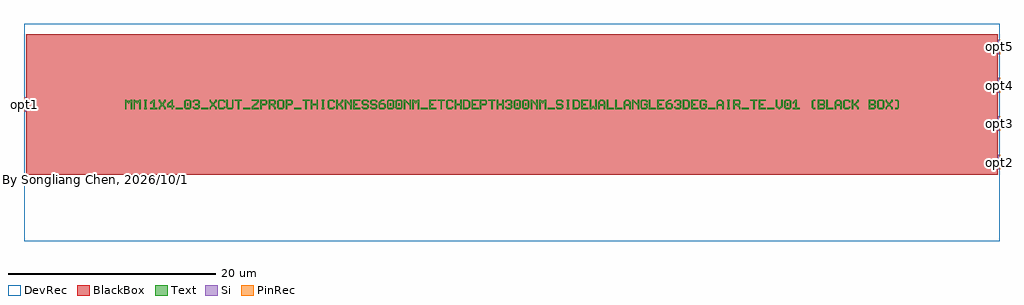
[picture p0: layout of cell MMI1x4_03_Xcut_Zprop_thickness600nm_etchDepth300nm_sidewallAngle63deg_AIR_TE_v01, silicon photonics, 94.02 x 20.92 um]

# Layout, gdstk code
import gdstk
lib = gdstk.Library(unit=1e-6, precision=1e-10)
def R(c, l, rs):  # rectangles x0, y0, x1, y1
    for r in rs: c.add(gdstk.rectangle(r[:2], r[2:], *l))
def A(c, l, x, y, w, h, nx, ny, dx, dy):  # array of equal rectangles
    R(c, l, [(x+i*dx, y+j*dy, x+i*dx+w, y+j*dy+h) for i in range(nx) for j in range(ny)])
def P(c, l, *ps):  # polygons
    for p in ps: c.add(gdstk.Polygon(p, *l))
Si = (1, 0)
PinRec = (1, 10)
Text = (10, 0)
DevRec = (68, 0)
BlackBox = (998, 0)

text = lib.new_cell('TEXT')
A(text, Text, 16.28, 0, 0.678, 0.136, 3, 1, 12.21, 0)
R(text, Text, [(4.884,0,5.562,0.136), (7.326,0,8.004,0.136), (11.396,0,12.074,0.136), (56.166,0,56.844,0.136), (59.422,0,60.1,0.136), (61.864,0,62.542,0.136), (5.969,0.339,6.105,0.61), (25.505,0.339,25.641,0.61), (26.319,0.339,26.455,0.61), (37.715,0.339,37.851,0.61), (38.529,0.339,38.665,0.61), (63.763,0.339,63.899,0.61)])
P(text, Text, [(0,0),(0,0.95),(0.136,0.95),(0.271,0.814),(0.407,0.814),(0.543,0.95),(0.678,0.95),(0.678,0),(0.543,0),(0.543,0.678),(0.475,0.678),(0.339,0.543),(0.203,0.678),(0.136,0.678),(0.136,0)],
  [(0.814,0),(0.814,0.95),(0.95,0.95),(1.085,0.814),(1.221,0.814),(1.357,0.95),(1.492,0.95),(1.492,0),(1.357,0),(1.357,0.678),(1.289,0.678),(1.153,0.543),(1.017,0.678),(0.95,0.678),(0.95,0)],
  [(1.831,0),(1.831,0.136),(1.899,0.136),(1.899,0.814),(1.831,0.814),(1.831,0.95),(2.103,0.95),(2.103,0.814),(2.035,0.814),(2.035,0.136),(2.103,0.136),(2.103,0)],
  [(2.442,0),(2.442,0.136),(2.713,0.136),(2.713,0.678),(2.645,0.678),(2.51,0.543),(2.442,0.543),(2.442,0.678),(2.713,0.95),(2.849,0.95),(2.849,0.136),(3.12,0.136),(3.12,0)],
  [(3.256,0),(3.256,0.203),(3.459,0.407),(3.459,0.543),(3.256,0.746),(3.256,0.95),(3.392,0.95),(3.392,0.814),(3.595,0.61),(3.799,0.814),(3.799,0.95),(3.934,0.95),(3.934,0.746),(3.731,0.543),(3.731,0.407),(3.934,0.203),(3.934,0),(3.799,0),(3.799,0.136),(3.595,0.339),(3.392,0.136),(3.392,0)],
  [(4.477,0),(4.477,0.203),(4.07,0.203),(4.07,0.339),(4.477,0.339),(4.477,0.678),(4.409,0.678),(4.206,0.475),(4.206,0.339),(4.07,0.339),(4.07,0.543),(4.477,0.95),(4.613,0.95),(4.613,0.339),(4.748,0.339),(4.748,0.203),(4.613,0.203),(4.613,0)],
  [(5.834,0),(5.698,0.136),(5.698,0.814),(5.834,0.95),(6.241,0.95),(6.376,0.814),(5.901,0.814),(5.834,0.746),(5.834,0.203),(5.901,0.136),(6.173,0.136),(6.241,0.203),(6.241,0.746),(6.173,0.814),(6.376,0.814),(6.376,0.136),(6.241,0)],
  [(6.648,0),(6.512,0.136),(6.512,0.271),(6.648,0.271),(6.648,0.203),(6.715,0.136),(6.987,0.136),(7.055,0.203),(7.055,0.339),(6.987,0.407),(6.783,0.407),(6.783,0.543),(6.987,0.543),(7.055,0.61),(7.055,0.746),(6.987,0.814),(6.715,0.814),(6.648,0.746),(6.648,0.678),(6.512,0.678),(6.512,0.814),(6.648,0.95),(7.055,0.95),(7.19,0.814),(7.19,0.543),(7.122,0.475),(7.19,0.407),(7.19,0.136),(7.055,0)],
  [(8.14,0),(8.14,0.203),(8.343,0.407),(8.343,0.543),(8.14,0.746),(8.14,0.95),(8.276,0.95),(8.276,0.814),(8.479,0.61),(8.683,0.814),(8.683,0.95),(8.818,0.95),(8.818,0.746),(8.615,0.543),(8.615,0.407),(8.818,0.203),(8.818,0),(8.683,0),(8.683,0.136),(8.479,0.339),(8.276,0.136),(8.276,0)],
  [(9.09,0),(8.954,0.136),(8.954,0.814),(9.09,0.95),(9.497,0.95),(9.632,0.814),(9.632,0.678),(9.497,0.678),(9.497,0.746),(9.429,0.814),(9.157,0.814),(9.09,0.746),(9.09,0.203),(9.157,0.136),(9.429,0.136),(9.497,0.203),(9.497,0.271),(9.632,0.271),(9.632,0.136),(9.497,0)],
  [(9.904,0),(9.768,0.136),(9.768,0.95),(9.904,0.95),(9.904,0.203),(9.971,0.136),(10.243,0.136),(10.311,0.203),(10.311,0.95),(10.446,0.95),(10.446,0.136),(10.311,0)],
  [(10.853,0),(10.853,0.814),(10.582,0.814),(10.582,0.95),(11.26,0.95),(11.26,0.814),(10.989,0.814),(10.989,0)],
  [(12.21,0),(12.21,0.271),(12.481,0.543),(12.549,0.543),(12.753,0.746),(12.753,0.814),(12.21,0.814),(12.21,0.95),(12.888,0.95),(12.888,0.678),(12.617,0.407),(12.549,0.407),(12.346,0.203),(12.346,0.136),(12.888,0.136),(12.888,0)],
  [(13.024,0),(13.024,0.95),(13.567,0.95),(13.702,0.814),(13.702,0.543),(13.567,0.407),(13.16,0.407),(13.16,0.543),(13.499,0.543),(13.567,0.61),(13.567,0.746),(13.499,0.814),(13.16,0.814),(13.16,0)],
  [(13.838,0),(13.838,0.95),(14.381,0.95),(14.516,0.814),(13.974,0.814),(13.974,0.543),(14.313,0.543),(14.381,0.61),(14.381,0.746),(14.313,0.814),(14.516,0.814),(14.516,0.543),(14.381,0.407),(14.381,0.339),(14.516,0.203),(14.516,0),(14.381,0),(14.381,0.136),(14.109,0.407),(13.974,0.407),(13.974,0)],
  [(14.788,0),(14.652,0.136),(14.652,0.814),(14.788,0.95),(15.195,0.95),(15.33,0.814),(15.33,0.475),(15.195,0.475),(15.195,0.746),(15.127,0.814),(14.855,0.814),(14.788,0.746),(14.788,0.203),(14.855,0.136),(15.127,0.136),(15.195,0.203),(15.195,0.475),(15.33,0.475),(15.33,0.136),(15.195,0)],
  [(15.466,0),(15.466,0.95),(16.009,0.95),(16.144,0.814),(16.144,0.543),(16.009,0.407),(15.602,0.407),(15.602,0.543),(15.941,0.543),(16.009,0.61),(16.009,0.746),(15.941,0.814),(15.602,0.814),(15.602,0)],
  [(17.365,0),(17.365,0.814),(17.094,0.814),(17.094,0.95),(17.772,0.95),(17.772,0.814),(17.501,0.814),(17.501,0)],
  [(17.908,0),(17.908,0.95),(18.044,0.95),(18.044,0.543),(18.451,0.543),(18.451,0.95),(18.586,0.95),(18.586,0),(18.451,0),(18.451,0.407),(18.044,0.407),(18.044,0)],
  [(18.925,0),(18.925,0.136),(18.993,0.136),(18.993,0.814),(18.925,0.814),(18.925,0.95),(19.197,0.95),(19.197,0.814),(19.129,0.814),(19.129,0.136),(19.197,0.136),(19.197,0)],
  [(19.672,0),(19.536,0.136),(19.536,0.814),(19.672,0.95),(20.079,0.95),(20.214,0.814),(20.214,0.678),(20.079,0.678),(20.079,0.746),(20.011,0.814),(19.739,0.814),(19.672,0.746),(19.672,0.203),(19.739,0.136),(20.011,0.136),(20.079,0.203),(20.079,0.271),(20.214,0.271),(20.214,0.136),(20.079,0)],
  [(20.35,0),(20.35,0.95),(20.486,0.95),(20.486,0.543),(20.621,0.543),(20.893,0.814),(20.893,0.95),(21.028,0.95),(21.028,0.746),(20.757,0.475),(21.028,0.203),(21.028,0),(20.893,0),(20.893,0.136),(20.621,0.407),(20.486,0.407),(20.486,0)],
  [(21.164,0),(21.164,0.95),(21.3,0.95),(21.639,0.61),(21.707,0.61),(21.707,0.95),(21.842,0.95),(21.842,0),(21.707,0),(21.707,0.339),(21.367,0.678),(21.3,0.678),(21.3,0)],
  [(21.978,0),(21.978,0.95),(22.656,0.95),(22.656,0.814),(22.114,0.814),(22.114,0.543),(22.385,0.543),(22.385,0.407),(22.114,0.407),(22.114,0.136),(22.656,0.136),(22.656,0)],
  [(22.928,0),(22.792,0.136),(22.792,0.271),(22.928,0.271),(22.928,0.203),(22.995,0.136),(23.267,0.136),(23.335,0.203),(23.335,0.339),(23.267,0.407),(22.928,0.407),(22.792,0.543),(22.792,0.814),(22.928,0.95),(23.335,0.95),(23.47,0.814),(23.47,0.678),(23.335,0.678),(23.335,0.746),(23.267,0.814),(22.995,0.814),(22.928,0.746),(22.928,0.61),(22.995,0.543),(23.335,0.543),(23.47,0.407),(23.47,0.136),(23.335,0)],
  [(23.742,0),(23.606,0.136),(23.606,0.271),(23.742,0.271),(23.742,0.203),(23.809,0.136),(24.081,0.136),(24.149,0.203),(24.149,0.339),(24.081,0.407),(23.742,0.407),(23.606,0.543),(23.606,0.814),(23.742,0.95),(24.149,0.95),(24.284,0.814),(24.284,0.678),(24.149,0.678),(24.149,0.746),(24.081,0.814),(23.809,0.814),(23.742,0.746),(23.742,0.61),(23.809,0.543),(24.149,0.543),(24.284,0.407),(24.284,0.136),(24.149,0)],
  [(24.556,0),(24.42,0.136),(24.42,0.678),(24.691,0.95),(24.963,0.95),(24.963,0.814),(24.759,0.814),(24.623,0.678),(24.623,0.61),(24.963,0.61),(25.098,0.475),(24.623,0.475),(24.556,0.407),(24.556,0.203),(24.623,0.136),(24.895,0.136),(24.963,0.203),(24.963,0.407),(24.895,0.475),(25.098,0.475),(25.098,0.136),(24.963,0)],
  [(25.37,0),(25.234,0.136),(25.234,0.814),(25.37,0.95),(25.777,0.95),(25.912,0.814),(25.437,0.814),(25.37,0.746),(25.37,0.203),(25.437,0.136),(25.709,0.136),(25.777,0.203),(25.777,0.746),(25.709,0.814),(25.912,0.814),(25.912,0.136),(25.777,0)],
  [(26.184,0),(26.048,0.136),(26.048,0.814),(26.184,0.95),(26.591,0.95),(26.726,0.814),(26.251,0.814),(26.184,0.746),(26.184,0.203),(26.251,0.136),(26.523,0.136),(26.591,0.203),(26.591,0.746),(26.523,0.814),(26.726,0.814),(26.726,0.136),(26.591,0)],
  [(26.862,0),(26.862,0.95),(26.998,0.95),(27.337,0.61),(27.405,0.61),(27.405,0.95),(27.54,0.95),(27.54,0),(27.405,0),(27.405,0.339),(27.065,0.678),(26.998,0.678),(26.998,0)],
  [(27.676,0),(27.676,0.95),(27.812,0.95),(27.947,0.814),(28.083,0.814),(28.219,0.95),(28.354,0.95),(28.354,0),(28.219,0),(28.219,0.678),(28.151,0.678),(28.015,0.543),(27.879,0.678),(27.812,0.678),(27.812,0)],
  [(29.304,0),(29.304,0.95),(29.982,0.95),(29.982,0.814),(29.44,0.814),(29.44,0.543),(29.711,0.543),(29.711,0.407),(29.44,0.407),(29.44,0.136),(29.982,0.136),(29.982,0)],
  [(30.389,0),(30.389,0.814),(30.118,0.814),(30.118,0.95),(30.796,0.95),(30.796,0.814),(30.525,0.814),(30.525,0)],
  [(31.068,0),(30.932,0.136),(30.932,0.814),(31.068,0.95),(31.475,0.95),(31.61,0.814),(31.61,0.678),(31.475,0.678),(31.475,0.746),(31.407,0.814),(31.135,0.814),(31.068,0.746),(31.068,0.203),(31.135,0.136),(31.407,0.136),(31.475,0.203),(31.475,0.271),(31.61,0.271),(31.61,0.136),(31.475,0)],
  [(31.746,0),(31.746,0.95),(31.882,0.95),(31.882,0.543),(32.289,0.543),(32.289,0.95),(32.424,0.95),(32.424,0),(32.289,0),(32.289,0.407),(31.882,0.407),(31.882,0)],
  [(32.56,0),(32.56,0.95),(33.035,0.95),(33.17,0.814),(32.696,0.814),(32.696,0.136),(32.967,0.136),(33.103,0.271),(33.103,0.678),(32.967,0.814),(33.17,0.814),(33.238,0.746),(33.238,0.203),(33.035,0)],
  [(33.374,0),(33.374,0.95),(34.052,0.95),(34.052,0.814),(33.51,0.814),(33.51,0.543),(33.781,0.543),(33.781,0.407),(33.51,0.407),(33.51,0.136),(34.052,0.136),(34.052,0)],
  [(34.188,0),(34.188,0.95),(34.731,0.95),(34.866,0.814),(34.866,0.543),(34.731,0.407),(34.324,0.407),(34.324,0.543),(34.663,0.543),(34.731,0.61),(34.731,0.746),(34.663,0.814),(34.324,0.814),(34.324,0)],
  [(35.273,0),(35.273,0.814),(35.002,0.814),(35.002,0.95),(35.68,0.95),(35.68,0.814),(35.409,0.814),(35.409,0)],
  [(35.816,0),(35.816,0.95),(35.952,0.95),(35.952,0.543),(36.359,0.543),(36.359,0.95),(36.494,0.95),(36.494,0),(36.359,0),(36.359,0.407),(35.952,0.407),(35.952,0)],
  [(36.766,0),(36.63,0.136),(36.63,0.271),(36.766,0.271),(36.766,0.203),(36.833,0.136),(37.105,0.136),(37.173,0.203),(37.173,0.339),(37.105,0.407),(36.901,0.407),(36.901,0.543),(37.105,0.543),(37.173,0.61),(37.173,0.746),(37.105,0.814),(36.833,0.814),(36.766,0.746),(36.766,0.678),(36.63,0.678),(36.63,0.814),(36.766,0.95),(37.173,0.95),(37.308,0.814),(37.308,0.543),(37.24,0.475),(37.308,0.407),(37.308,0.136),(37.173,0)],
  [(37.58,0),(37.444,0.136),(37.444,0.814),(37.58,0.95),(37.987,0.95),(38.122,0.814),(37.647,0.814),(37.58,0.746),(37.58,0.203),(37.647,0.136),(37.919,0.136),(37.987,0.203),(37.987,0.746),(37.919,0.814),(38.122,0.814),(38.122,0.136),(37.987,0)],
  [(38.394,0),(38.258,0.136),(38.258,0.814),(38.394,0.95),(38.801,0.95),(38.936,0.814),(38.461,0.814),(38.394,0.746),(38.394,0.203),(38.461,0.136),(38.733,0.136),(38.801,0.203),(38.801,0.746),(38.733,0.814),(38.936,0.814),(38.936,0.136),(38.801,0)],
  [(39.072,0),(39.072,0.95),(39.208,0.95),(39.547,0.61),(39.615,0.61),(39.615,0.95),(39.75,0.95),(39.75,0),(39.615,0),(39.615,0.339),(39.275,0.678),(39.208,0.678),(39.208,0)],
  [(39.886,0),(39.886,0.95),(40.022,0.95),(40.157,0.814),(40.293,0.814),(40.429,0.95),(40.564,0.95),(40.564,0),(40.429,0),(40.429,0.678),(40.361,0.678),(40.225,0.543),(40.089,0.678),(40.022,0.678),(40.022,0)],
  [(41.65,0),(41.514,0.136),(41.514,0.271),(41.65,0.271),(41.65,0.203),(41.717,0.136),(41.989,0.136),(42.057,0.203),(42.057,0.339),(41.989,0.407),(41.65,0.407),(41.514,0.543),(41.514,0.814),(41.65,0.95),(42.057,0.95),(42.192,0.814),(42.192,0.678),(42.057,0.678),(42.057,0.746),(41.989,0.814),(41.717,0.814),(41.65,0.746),(41.65,0.61),(41.717,0.543),(42.057,0.543),(42.192,0.407),(42.192,0.136),(42.057,0)],
  [(42.531,0),(42.531,0.136),(42.599,0.136),(42.599,0.814),(42.531,0.814),(42.531,0.95),(42.803,0.95),(42.803,0.814),(42.735,0.814),(42.735,0.136),(42.803,0.136),(42.803,0)],
  [(43.142,0),(43.142,0.95),(43.617,0.95),(43.752,0.814),(43.278,0.814),(43.278,0.136),(43.549,0.136),(43.685,0.271),(43.685,0.678),(43.549,0.814),(43.752,0.814),(43.82,0.746),(43.82,0.203),(43.617,0)],
  [(43.956,0),(43.956,0.95),(44.634,0.95),(44.634,0.814),(44.092,0.814),(44.092,0.543),(44.363,0.543),(44.363,0.407),(44.092,0.407),(44.092,0.136),(44.634,0.136),(44.634,0)],
  [(44.77,0),(44.77,0.95),(44.906,0.95),(44.906,0.203),(44.973,0.203),(45.109,0.339),(45.245,0.203),(45.313,0.203),(45.313,0.95),(45.448,0.95),(45.448,0),(45.245,0),(45.109,0.136),(44.973,0)],
  [(45.584,0),(45.584,0.746),(45.787,0.95),(46.059,0.95),(46.194,0.814),(45.855,0.814),(45.72,0.678),(45.72,0.475),(46.127,0.475),(46.127,0.678),(45.991,0.814),(46.194,0.814),(46.262,0.746),(46.262,0),(46.127,0),(46.127,0.339),(45.72,0.339),(45.72,0)],
  [(46.398,0),(46.398,0.95),(46.534,0.95),(46.534,0.136),(47.076,0.136),(47.076,0)],
  [(47.212,0),(47.212,0.95),(47.348,0.95),(47.348,0.136),(47.89,0.136),(47.89,0)],
  [(48.026,0),(48.026,0.746),(48.229,0.95),(48.501,0.95),(48.636,0.814),(48.297,0.814),(48.162,0.678),(48.162,0.475),(48.569,0.475),(48.569,0.678),(48.433,0.814),(48.636,0.814),(48.704,0.746),(48.704,0),(48.569,0),(48.569,0.339),(48.162,0.339),(48.162,0)],
  [(48.84,0),(48.84,0.95),(48.976,0.95),(49.315,0.61),(49.383,0.61),(49.383,0.95),(49.518,0.95),(49.518,0),(49.383,0),(49.383,0.339),(49.043,0.678),(48.976,0.678),(48.976,0)],
  [(49.79,0),(49.654,0.136),(49.654,0.814),(49.79,0.95),(50.197,0.95),(50.332,0.814),(50.332,0.678),(50.197,0.678),(50.197,0.746),(50.129,0.814),(49.857,0.814),(49.79,0.746),(49.79,0.203),(49.857,0.136),(50.129,0.136),(50.197,0.203),(50.197,0.407),(49.993,0.407),(49.993,0.543),(50.332,0.543),(50.332,0.136),(50.197,0)],
  [(50.468,0),(50.468,0.95),(50.604,0.95),(50.604,0.136),(51.146,0.136),(51.146,0)],
  [(51.282,0),(51.282,0.95),(51.96,0.95),(51.96,0.814),(51.418,0.814),(51.418,0.543),(51.689,0.543),(51.689,0.407),(51.418,0.407),(51.418,0.136),(51.96,0.136),(51.96,0)],
  [(52.232,0),(52.096,0.136),(52.096,0.678),(52.367,0.95),(52.639,0.95),(52.639,0.814),(52.435,0.814),(52.299,0.678),(52.299,0.61),(52.639,0.61),(52.774,0.475),(52.299,0.475),(52.232,0.407),(52.232,0.203),(52.299,0.136),(52.571,0.136),(52.639,0.203),(52.639,0.407),(52.571,0.475),(52.774,0.475),(52.774,0.136),(52.639,0)],
  [(53.046,0),(52.91,0.136),(52.91,0.271),(53.046,0.271),(53.046,0.203),(53.113,0.136),(53.385,0.136),(53.453,0.203),(53.453,0.339),(53.385,0.407),(53.181,0.407),(53.181,0.543),(53.385,0.543),(53.453,0.61),(53.453,0.746),(53.385,0.814),(53.113,0.814),(53.046,0.746),(53.046,0.678),(52.91,0.678),(52.91,0.814),(53.046,0.95),(53.453,0.95),(53.588,0.814),(53.588,0.543),(53.52,0.475),(53.588,0.407),(53.588,0.136),(53.453,0)],
  [(53.724,0),(53.724,0.95),(54.199,0.95),(54.334,0.814),(53.86,0.814),(53.86,0.136),(54.131,0.136),(54.267,0.271),(54.267,0.678),(54.131,0.814),(54.334,0.814),(54.402,0.746),(54.402,0.203),(54.199,0)],
  [(54.538,0),(54.538,0.95),(55.216,0.95),(55.216,0.814),(54.674,0.814),(54.674,0.543),(54.945,0.543),(54.945,0.407),(54.674,0.407),(54.674,0.136),(55.216,0.136),(55.216,0)],
  [(55.488,0),(55.352,0.136),(55.352,0.814),(55.488,0.95),(55.895,0.95),(56.03,0.814),(56.03,0.678),(55.895,0.678),(55.895,0.746),(55.827,0.814),(55.555,0.814),(55.488,0.746),(55.488,0.203),(55.555,0.136),(55.827,0.136),(55.895,0.203),(55.895,0.407),(55.691,0.407),(55.691,0.543),(56.03,0.543),(56.03,0.136),(55.895,0)],
  [(56.98,0),(56.98,0.746),(57.183,0.95),(57.455,0.95),(57.59,0.814),(57.251,0.814),(57.116,0.678),(57.116,0.475),(57.523,0.475),(57.523,0.678),(57.387,0.814),(57.59,0.814),(57.658,0.746),(57.658,0),(57.523,0),(57.523,0.339),(57.116,0.339),(57.116,0)],
  [(57.997,0),(57.997,0.136),(58.065,0.136),(58.065,0.814),(57.997,0.814),(57.997,0.95),(58.269,0.95),(58.269,0.814),(58.201,0.814),(58.201,0.136),(58.269,0.136),(58.269,0)],
  [(58.608,0),(58.608,0.95),(59.151,0.95),(59.286,0.814),(58.744,0.814),(58.744,0.543),(59.083,0.543),(59.151,0.61),(59.151,0.746),(59.083,0.814),(59.286,0.814),(59.286,0.543),(59.151,0.407),(59.151,0.339),(59.286,0.203),(59.286,0),(59.151,0),(59.151,0.136),(58.879,0.407),(58.744,0.407),(58.744,0)],
  [(60.507,0),(60.507,0.814),(60.236,0.814),(60.236,0.95),(60.914,0.95),(60.914,0.814),(60.643,0.814),(60.643,0)],
  [(61.05,0),(61.05,0.95),(61.728,0.95),(61.728,0.814),(61.186,0.814),(61.186,0.543),(61.457,0.543),(61.457,0.407),(61.186,0.407),(61.186,0.136),(61.728,0.136),(61.728,0)],
  [(62.949,0),(62.678,0.271),(62.678,0.95),(62.814,0.95),(62.814,0.339),(63.017,0.136),(63.221,0.339),(63.221,0.95),(63.356,0.95),(63.356,0.271),(63.085,0)],
  [(63.628,0),(63.492,0.136),(63.492,0.814),(63.628,0.95),(64.035,0.95),(64.17,0.814),(63.695,0.814),(63.628,0.746),(63.628,0.203),(63.695,0.136),(63.967,0.136),(64.035,0.203),(64.035,0.746),(63.967,0.814),(64.17,0.814),(64.17,0.136),(64.035,0)],
  [(64.306,0),(64.306,0.136),(64.577,0.136),(64.577,0.678),(64.509,0.678),(64.374,0.543),(64.306,0.543),(64.306,0.678),(64.577,0.95),(64.713,0.95),(64.713,0.136),(64.984,0.136),(64.984,0)],
  [(66.273,0),(66.137,0.136),(66.137,0.814),(66.273,0.95),(66.477,0.95),(66.477,0.814),(66.341,0.814),(66.273,0.746),(66.273,0.203),(66.341,0.136),(66.477,0.136),(66.477,0)],
  [(66.748,0),(66.748,0.95),(67.291,0.95),(67.426,0.814),(66.884,0.814),(66.884,0.543),(67.223,0.543),(67.291,0.61),(67.291,0.746),(67.223,0.814),(67.426,0.814),(67.426,0.543),(67.358,0.475),(67.426,0.407),(66.884,0.407),(66.884,0.136),(67.223,0.136),(67.291,0.203),(67.291,0.339),(67.223,0.407),(67.426,0.407),(67.426,0.136),(67.291,0)],
  [(67.562,0),(67.562,0.95),(67.698,0.95),(67.698,0.136),(68.24,0.136),(68.24,0)],
  [(68.376,0),(68.376,0.746),(68.579,0.95),(68.851,0.95),(68.986,0.814),(68.647,0.814),(68.512,0.678),(68.512,0.475),(68.919,0.475),(68.919,0.678),(68.783,0.814),(68.986,0.814),(69.054,0.746),(69.054,0),(68.919,0),(68.919,0.339),(68.512,0.339),(68.512,0)],
  [(69.326,0),(69.19,0.136),(69.19,0.814),(69.326,0.95),(69.733,0.95),(69.868,0.814),(69.868,0.678),(69.733,0.678),(69.733,0.746),(69.665,0.814),(69.393,0.814),(69.326,0.746),(69.326,0.203),(69.393,0.136),(69.665,0.136),(69.733,0.203),(69.733,0.271),(69.868,0.271),(69.868,0.136),(69.733,0)],
  [(70.004,0),(70.004,0.95),(70.14,0.95),(70.14,0.543),(70.275,0.543),(70.547,0.814),(70.547,0.95),(70.682,0.95),(70.682,0.746),(70.411,0.475),(70.682,0.203),(70.682,0),(70.547,0),(70.547,0.136),(70.275,0.407),(70.14,0.407),(70.14,0)],
  [(71.632,0),(71.632,0.95),(72.175,0.95),(72.31,0.814),(71.768,0.814),(71.768,0.543),(72.107,0.543),(72.175,0.61),(72.175,0.746),(72.107,0.814),(72.31,0.814),(72.31,0.543),(72.242,0.475),(72.31,0.407),(71.768,0.407),(71.768,0.136),(72.107,0.136),(72.175,0.203),(72.175,0.339),(72.107,0.407),(72.31,0.407),(72.31,0.136),(72.175,0)],
  [(72.582,0),(72.446,0.136),(72.446,0.814),(72.582,0.95),(72.989,0.95),(73.124,0.814),(73.124,0.475),(72.989,0.475),(72.989,0.746),(72.921,0.814),(72.649,0.814),(72.582,0.746),(72.582,0.203),(72.649,0.136),(72.921,0.136),(72.989,0.203),(72.989,0.475),(73.124,0.475),(73.124,0.136),(72.989,0)],
  [(73.26,0),(73.26,0.203),(73.463,0.407),(73.463,0.543),(73.26,0.746),(73.26,0.95),(73.396,0.95),(73.396,0.814),(73.599,0.61),(73.803,0.814),(73.803,0.95),(73.938,0.95),(73.938,0.746),(73.735,0.543),(73.735,0.407),(73.938,0.203),(73.938,0),(73.803,0),(73.803,0.136),(73.599,0.339),(73.396,0.136),(73.396,0)],
  [(74.21,0),(74.21,0.136),(74.345,0.136),(74.413,0.203),(74.413,0.746),(74.345,0.814),(74.21,0.814),(74.21,0.95),(74.413,0.95),(74.549,0.814),(74.549,0.136),(74.413,0)])

mmi1x4_03_xcut_zprop_thi = lib.new_cell('MMI1x4_03_Xcut_Zprop_thickness600nm_etchDepth300nm_sidewallAngle63deg_AIR_TE_v01')
R(mmi1x4_03_xcut_zprop_thi, Si, [(46.8,-6.2586,47,-4.8586), (46.8,-2.5529,47,-1.1529), (-47,-0.7,-46.8,0.7), (46.8,1.1529,47,2.5529), (46.8,4.8586,47,6.2586)])
R(mmi1x4_03_xcut_zprop_thi, DevRec, [(-47,-13.1586,47,7.7586)])
R(mmi1x4_03_xcut_zprop_thi, BlackBox, [(-46.8,-6.7586,46.8,6.7586)])
mmi1x4_03_xcut_zprop_thi.add(gdstk.FlexPath([(-46.99,0),(-47.01,0)], 1.4, ends="flush", simple_path=True, layer=1, datatype=10))  # PinRec
mmi1x4_03_xcut_zprop_thi.add(gdstk.FlexPath([(46.99,-5.5586),(47.01,-5.5586)], 1.4, ends="flush", simple_path=True, layer=1, datatype=10))  # PinRec
mmi1x4_03_xcut_zprop_thi.add(gdstk.FlexPath([(46.99,-1.8529),(47.01,-1.8529)], 1.4, ends="flush", simple_path=True, layer=1, datatype=10))  # PinRec
mmi1x4_03_xcut_zprop_thi.add(gdstk.FlexPath([(46.99,1.8529),(47.01,1.8529)], 1.4, ends="flush", simple_path=True, layer=1, datatype=10))  # PinRec
mmi1x4_03_xcut_zprop_thi.add(gdstk.FlexPath([(46.99,5.5586),(47.01,5.5586)], 1.4, ends="flush", simple_path=True, layer=1, datatype=10))  # PinRec
mmi1x4_03_xcut_zprop_thi.add(gdstk.Reference(text, (-37.2745,-0.475)))
mmi1x4_03_xcut_zprop_thi.add(gdstk.Label('opt1', (-47,0), layer=1, texttype=10))
mmi1x4_03_xcut_zprop_thi.add(gdstk.Label('opt2', (47,-5.5586), layer=1, texttype=10))
mmi1x4_03_xcut_zprop_thi.add(gdstk.Label('opt3', (47,-1.8529), layer=1, texttype=10))
mmi1x4_03_xcut_zprop_thi.add(gdstk.Label('opt4', (47,1.8529), layer=1, texttype=10))
mmi1x4_03_xcut_zprop_thi.add(gdstk.Label('opt5', (47,5.5586), layer=1, texttype=10))
mmi1x4_03_xcut_zprop_thi.add(gdstk.Label('By Songliang Chen, 2026/10/13', (-46.5,-7.2586), layer=10, texttype=0))

lib.write_gds('MMI1x4_03_Xcut_Zprop_thickness600nm_etchDepth300nm_sidewallAngle63deg_AIR_TE_v01.gds')
